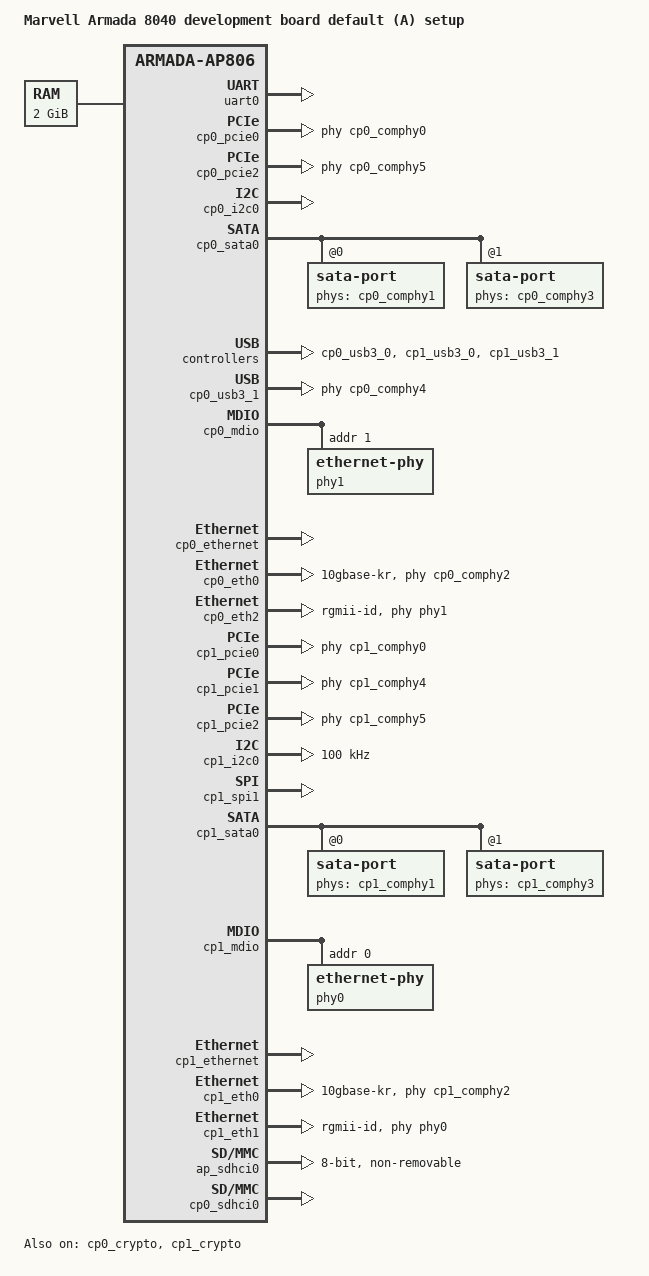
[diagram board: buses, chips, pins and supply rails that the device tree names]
// SPDX-License-Identifier: (GPL-2.0+ OR MIT)
/*
 * Copyright (C) 2016 Marvell Technology Group Ltd.
 *
 * Device Tree file for Marvell Armada 8040 Development board platform
 */

#include <dt-bindings/gpio/gpio.h>
#include "armada-8040-db.dtsi"

/ {
	model = "Marvell Armada 8040 development board default (A) setup";
	compatible = "marvell,armada8040-db-default", "marvell,armada8040-db",
		"marvell,armada8040", "marvell,armada-ap806-quad",
		"marvell,armada-ap806";

	chosen {
		stdout-path = "serial0:115200n8";
	};

	memory@0 {
		device_type = "memory";
		reg = <0x0 0x0 0x0 0x80000000>;
	};

	aliases {
		ethernet0 = &cp0_eth0;
		ethernet1 = &cp0_eth2;
		ethernet2 = &cp1_eth0;
		ethernet3 = &cp1_eth1;
	};
};

/* Accessible over the mini-USB CON9 connector on the main board */
&uart0 {
	status = "okay";
};

/* CON6 on CP0 expansion */
&cp0_pcie0 {
	status = "okay";
	phys = <&cp0_comphy0 0>;
};

/* CON5 on CP0 expansion */
&cp0_pcie2 {
	status = "okay";
	phys = <&cp0_comphy5 2>;
};

&cp0_i2c0 {
	status = "okay";
};

&cp0_sata0 {
	status = "okay";
	/* CON2 on CP0 expansion */
	sata-port@0 {
		status = "okay";
		/* Generic PHY, providing serdes lanes */
		phys = <&cp0_comphy1 0>;
	};
	/* CON4 on CP0 expansion */
	sata-port@1 {
		status = "okay";
		/* Generic PHY, providing serdes lanes */
		phys = <&cp0_comphy3 1>;
	};
};

/* CON9 on CP0 expansion */
&cp0_usb3_0 {
	status = "okay";
};

/* CON10 on CP0 expansion */
&cp0_usb3_1 {
	status = "okay";
	/* Generic PHY, providing serdes lanes */
	phys = <&cp0_comphy4 1>;
	phy-names = "usb";
};

&cp0_mdio {
	status = "okay";

	phy1: ethernet-phy@1 {
		reg = <1>;
	};
};

&cp0_ethernet {
	status = "okay";
};

&cp0_eth0 {
	status = "okay";
	phy-mode = "10gbase-kr";
	/* Generic PHY, providing serdes lanes */
	phys = <&cp0_comphy2 0>;
	managed = "in-band-status";
	sfp = <&sfp_eth0>;
};

&cp0_eth2 {
	status = "okay";
	phy = <&phy1>;
	phy-mode = "rgmii-id";
};

/* CON6 on CP1 expansion */
&cp1_pcie0 {
	status = "okay";
	phys = <&cp1_comphy0 0>;
};

/* CON7 on CP1 expansion */
&cp1_pcie1 {
	status = "okay";
	phys = <&cp1_comphy4 1>;
};

/* CON5 on CP1 expansion */
&cp1_pcie2 {
	status = "okay";
	phys = <&cp1_comphy5 2>;
};

&cp1_i2c0 {
	status = "okay";
	clock-frequency = <100000>;
};

&cp1_spi1 {
	status = "okay";
};

/*
 * Proper NAND usage will require DPR-76 to be in position 1-2, which disables
 * MDIO signal of CP1.
 */
&cp1_nand_controller {
	pinctrl-0 = <&nand_pins>, <&nand_rb>;
	pinctrl-names = "default";
};

&cp1_sata0 {
	status = "okay";
	/* CON2 on CP1 expansion */
	sata-port@0 {
		status = "okay";
		/* Generic PHY, providing serdes lanes */
		phys = <&cp1_comphy1 0>;
	};
	/* CON4 on CP1 expansion */
	sata-port@1 {
		status = "okay";
		/* Generic PHY, providing serdes lanes */
		phys = <&cp1_comphy3 1>;
	};
};

/* CON9 on CP1 expansion */
&cp1_usb3_0 {
	status = "okay";
};

/* CON10 on CP1 expansion */
&cp1_usb3_1 {
	status = "okay";
};

&cp1_mdio {
	status = "okay";

	phy0: ethernet-phy@0 {
		reg = <0>;
	};
};

&cp1_ethernet {
	status = "okay";
};

&cp1_eth0 {
	status = "okay";
	phy-mode = "10gbase-kr";
	/* Generic PHY, providing serdes lanes */
	phys = <&cp1_comphy2 0>;
	managed = "in-band-status";
	sfp = <&sfp_eth1>;
};

&cp1_eth1 {
	status = "okay";
	phy = <&phy0>;
	phy-mode = "rgmii-id";
};

&ap_sdhci0 {
	status = "okay";
	bus-width = <8>;
	/* The below property should be added to boards with AP806-B0
	 * for enabling HS400 speed mode. Otherwise the device highest
	 * speed mode will be HS200.
	 * Should not be added to boards with earlier release of AP806
	 * since it will cause SDHCI driver to fail upon initialization.
	 *
	 * mmc-hs400-1_8v;
	 */
	non-removable;
};

&cp0_sdhci0 {
	status = "okay";
};

&cp0_crypto {
	status = "okay";
};

&cp1_crypto {
	status = "okay";
};
